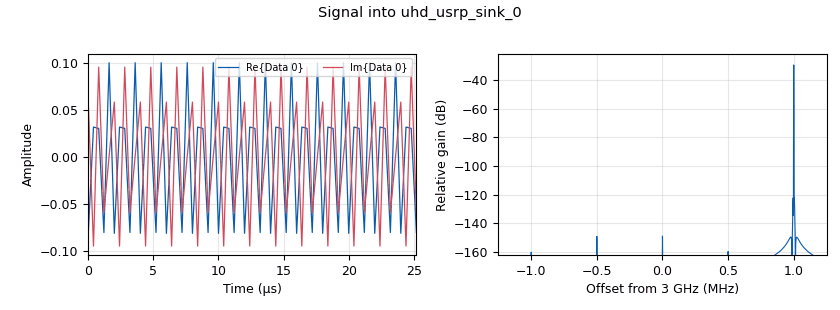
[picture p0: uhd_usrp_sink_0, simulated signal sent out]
options:
  parameters:
    generate_options: qt_gui
    id: example_paam_tone
    output_language: python
    title: Not titled yet
  states: {}

blocks:
- name: freq
  id: variable
  parameters:
    value: 3e9
  states: {}
- name: samp_rate
  id: variable
  parameters:
    value: 2.5e6
  states: {}
- name: analog_sig_source_x_0
  id: analog_sig_source_x
  parameters:
    amp: '0.1'
    freq: 1e6
    offset: '0'
    phase: '0'
    samp_rate: samp_rate
    type: complex
    waveform: analog.GR_COS_WAVE
  states: {}
- name: qtgui_freq_sink_x_0
  id: qtgui_freq_sink_x
  parameters:
    bw: samp_rate
    fc: '0'
    fftsize: '1024'
    type: complex
    wintype: firdes.WIN_BLACKMAN_hARRIS
  states: {}
- name: uhd_usrp_sink_0
  id: uhd_usrp_sink
  parameters:
    ant0: TX/RX
    center_freq0: freq
    dev_args: '"mgmt_addr=10.116.2.1,addr=10.117.2.1"'
    gain0: '40'
    len_tag_name: ''
    norm_gain0: 'False'
    samp_rate: samp_rate
    sd_spec0: B:0
    sync: sync
    type: fc32
  states: {}
- name: uhd_usrp_source_0
  id: uhd_usrp_source
  parameters:
    ant0: RX2
    center_freq0: freq
    dc_offs_enb0: '""'
    dev_args: '"mgmt_addr=10.116.3.1,addr=10.117.3.1"'
    gain0: '40'
    iq_imbal_enb0: '""'
    norm_gain0: 'False'
    samp_rate: samp_rate
    sd_spec0: B:0
    sync: sync
    type: fc32
  states: {}

connections:
- [analog_sig_source_x_0, '0', uhd_usrp_sink_0, '0']
- [uhd_usrp_source_0, '0', qtgui_freq_sink_x_0, '0']

metadata:
  file_format: 1
